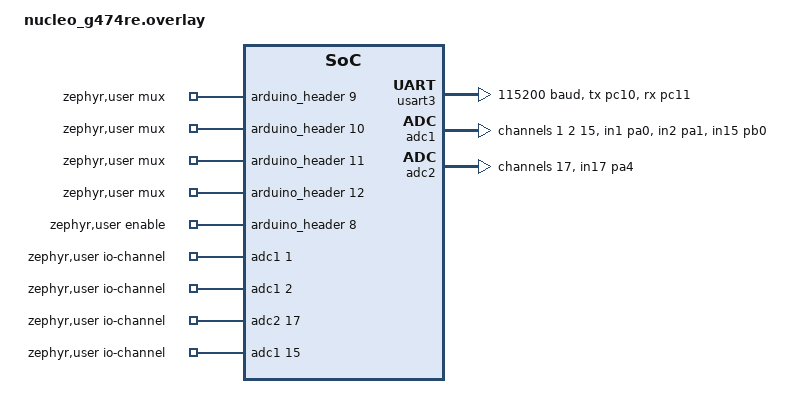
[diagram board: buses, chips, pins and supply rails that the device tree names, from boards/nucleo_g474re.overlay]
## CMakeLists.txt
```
cmake_minimum_required(VERSION 3.20.0)

# Initialize Zephyr
find_package(Zephyr REQUIRED HINTS $ENV{ZEPHYR_BASE})
project(chessboard_zephyr)

# Include sources
target_sources(app PRIVATE src/main.cpp src/Led.cpp src/utils.cpp src/SensorsMatrix.cpp src/UartSender.cpp src/FlashStorage.cpp)

# Optional: Set additional compile options if needed
# e.g., add compile options or flags here if necessary
#target_compile_options(app PRIVATE -g -O0)  # Debugging symbols and no optimization
```

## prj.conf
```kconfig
CONFIG_HEAP_MEM_POOL_SIZE=1048
CONFIG_ASSERT=y
CONFIG_GPIO=y
CONFIG_ADC=y

CONFIG_SHELL=y
#CONFIG_ADC_SHELL=y
#CONFIG_GPIO_SHELL=y
CONFIG_SHELL_PROMPT_UART="chessboard:~$ "

CONFIG_REBOOT=y

CONFIG_LOG=y

CONFIG_EVENTS=y

CONFIG_MAIN_STACK_SIZE=2048

CONFIG_FLASH=y
CONFIG_FLASH_PAGE_LAYOUT=y
CONFIG_CRC=y


CONFIG_BOOTLOADER_MCUBOOT=y
#CONFIG_BOOT_SIGNATURE_KEY_FILE="~/keys/mykey.pem"
#CONFIG_MCUBOOT_SIGNATURE_KEY_FILE="/home/elotro/keys/mykey.pem"

#CONFIG_MCUBOOT_GENERATE_UNSIGNED_IMAGE
CONFIG_MCUBOOT_IMGTOOL_SIGN_VERSION="0.0.1"


#CONFIG_NET_BUF=y
#CONFIG_ZCBOR=y

# Enable mcumgr.
#CONFIG_MCUMGR=y

CONFIG_MCUBOOT_BOOTLOADER_MODE_FIRMWARE_UPDATER=y

# Enable the Bluetooth (unauthenticated) and UART mcumgr transports.
#CONFIG_MCUMGR_SMP_BT=y
#CONFIG_MCUMGR_SMP_BT_AUTHEN=n
#CONFIG_MCUMGR_SMP_SHELL=y
#CONFIG_MCUMGR_SMP_UART=y

# Enable all core commands.
#CONFIG_MCUMGR_CMD_FS_MGMT=y
#CONFIG_MCUMGR_CMD_IMG_MGMT=y
#CONFIG_MCUMGR_CMD_OS_MGMT=y
#CONFIG_MCUMGR_CMD_STAT_MGMT=y

#CONFIG_BASE64=y
#CONFIG_MCUMGR_TRANSPORT_UART=y


#CONFIG_IMG_MANAGER=y
#CONFIG_STREAM_FLASH=y
#CONFIG_RETENTION_BOOTLOADER_INFO_OUTPUT_FUNCTION=y
#CONFIG_RETENTION=y
#CONFIG_RETAINED_MEM=y

#CONFIG_MCUBOOT_BOOTUTIL_LIB=y
#CONFIG_BOOT_IMAGE_ACCESS_HOOKS=y # probando..


#CONFIG_MCUMGR_GRP_IMG=y
#CONFIG_MCUMGR_SMP_VERBOSE_ERR_RESPONSE=y



#CONFIG_MCUBOOT_SIGNATURE_KEY_FILE="/home/elotro/keys/mykey.pem"
CONFIG_MCUBOOT_GENERATE_UNSIGNED_IMAGE=y
```

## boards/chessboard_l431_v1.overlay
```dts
/ {
	chosen {
		zephyr,code-partition = &slot0_partition;
                uart-sender = &usart3;
                config-data = &storage_partition;
	};
};

&adc1 {
    status = "okay";
};
```

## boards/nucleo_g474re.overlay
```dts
/ {
	chosen {
		zephyr,console = &usart3;
		zephyr,shell-uart = &usart3;
		uart-sender = &usart1;
		config-data = &storage_partition;
	};

    zephyr,user {
            /* adjust channel number according to pinmux in board.dts */
            /*               A0-PA0      A1-PA1    A2-PA4         A3-PB0       A4-PC1      A5-PC0*/
            //io-channels = <&adc1 1>, <&adc1 2>, <&adc2 17>,  <&adc1 15>,   <&adc12 7>, <&adc12 6> ;
            io-channels = <&adc1 1>, <&adc1 2>, <&adc2 17>,  <&adc1 15> ;
            //io-channels = <&adc1 1>, <&adc1 2>;
	mux-gpios =  <&arduino_header 9 0>, // D3
	             <&arduino_header 10 0>, // D4
	             <&arduino_header 11 0>, // D5
	             <&arduino_header 12 0>; // D6
	enable-gpios =  <&arduino_header 8 0>; // D2

    };
};

&usart3 {
	pinctrl-0 = <&usart3_tx_pc10 &usart3_rx_pc11>;
	pinctrl-names = "default";
	current-speed = <115200>;
	status = "okay";
};

&adc1 {
    pinctrl-0 = <&adc1_in1_pa0 &adc1_in2_pa1 &adc1_in15_pb0>;  // add whatever inputs you need
    pinctrl-names = "default";
    st,adc-clock-source = "SYNC";
    st,adc-prescaler = <4>;

    vref-mv = <3300>;
    status = "okay";

     #address-cells = <1>;
    #size-cells = <0>;

    channel@1 {
        reg = <1>;
        zephyr,gain = "ADC_GAIN_1";
        zephyr,reference = "ADC_REF_INTERNAL";
        zephyr,acquisition-time = <ADC_ACQ_TIME_DEFAULT>;
        zephyr,resolution = <12>;
    };

    channel@2 {
        reg = <2>;
        zephyr,gain = "ADC_GAIN_1";
        zephyr,reference = "ADC_REF_INTERNAL";
        zephyr,acquisition-time = <ADC_ACQ_TIME_DEFAULT>;
        zephyr,resolution = <12>;
    };

    channel@15 {
        reg = <15>;
        zephyr,gain = "ADC_GAIN_1";
        zephyr,reference = "ADC_REF_INTERNAL";
        zephyr,acquisition-time = <ADC_ACQ_TIME_DEFAULT>;
        zephyr,resolution = <12>;
    };

};



&adc2 {
    //pinctrl-0 = <&adc2_in6_pc1 &adc2_in7_pc0 &adc2_in17_pa4>;  // add whatever inputs you need
    pinctrl-0 = <&adc2_in17_pa4>;  // add whatever inputs you need
    pinctrl-names = "default";
    st,adc-clock-source = "SYNC";
    st,adc-prescaler = <4>;

    vref-mv = <3300>;
    status = "okay";

    #address-cells = <1>;
    #size-cells = <0>;
 
    channel@17 {
        reg = <17>;
        zephyr,gain = "ADC_GAIN_1";
        zephyr,reference = "ADC_REF_INTERNAL";
        zephyr,acquisition-time = <ADC_ACQ_TIME_DEFAULT>;
        zephyr,resolution = <12>;
    };

};
```

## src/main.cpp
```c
/*
 * Copyright (c) 2017 Linaro Limited
 *
 * SPDX-License-Identifier: Apache-2.0
 */


#include <zephyr/kernel.h>
#include <zephyr/device.h>
#include <zephyr/devicetree.h>
#include <zephyr/drivers/gpio.h>
#include <zephyr/drivers/adc.h>
#include <zephyr/sys/printk.h>
#include <zephyr/sys/util.h>
#include <zephyr/sys/__assert.h>
#include <zephyr/shell/shell.h>

#include <string.h>
#include <ctype.h>

#include "Led.hpp"
#include "SensorsMatrix.h"
#include "UartSender.h"
#include "FlashStorage.h"

/* size of stack area used by each thread */
#define STACKSIZE 1024

/* scheduling priority used by each thread */
#define PRIORITY_NORMAL 7
#define PRIORITY_HIGH 5

#define LED0_NODE DT_ALIAS(led0)

#if !DT_NODE_HAS_STATUS(LED0_NODE, okay)
#error "Unsupported board: led0 devicetree alias is not defined"
#endif

#define LED1_NODE DT_ALIAS(led1)

#if !DT_NODE_HAS_STATUS(LED1_NODE, okay)
#error "Unsupported board: led1 devicetree alias is not defined"
#endif


bool initialized = false;

K_SEM_DEFINE(my_sem, 0, 1);  // Initial count = 0, Max count = 1


SensorsMatrix sm;
FlashStorage fs;
UartSender uart;

void alive(void) {
	Led aLed( GPIO_DT_SPEC_GET_OR(LED0_NODE, gpios, {0}) );

	if ( aLed.initialize() != 0 ) {
		return;
	}

	while (1) {
		aLed.toogle();

		k_msleep(1000);
	}
}

void matrix(void) {
	while (!initialized)
		k_msleep(1);

	printk("matrix periodic refresh starts.\n");

	int iteration = 0;
	while (1) {

		if (sm.refresh()) {
			k_sem_give(&my_sem);
		} else {
			//printk("No changes\n");
		}

		k_msleep(200); // refresh takes 65ms aprox. Thus 64+200 is about 4 samples/second
		iteration++;
	}
}

bool board_inverted = false;
void changes_notifier(void) {
	Led aLed( GPIO_DT_SPEC_GET_OR(LED1_NODE, gpios, {0}) );

	if ( aLed.initialize() != 0 ) {
		printk("cannot initialize LED1");
		return;
	}

	uint8_t aMatrix[8][8];
	uint8_t packed_board[8];    // Each byte = 1 row
	char uart_msg[64];          // UART message buffer



	while (!initialized) k_msleep(1);
        printk("board monitor starts.\n");

	while (1) {

		k_sem_take(&my_sem, K_FOREVER);

		sm.getPosition(aMatrix);

		for (int row = 0; row < 8; ++row) {
			uint8_t bits = 0;

			for (int col = 0; col < 8; ++col) {
				if (aMatrix[row][col] != 0) {
					bits |= (1 << (board_inverted? col : (7 - col)));  // col 0 is MSB
				}
			}

			packed_board[row] = bits;
		}

		int len = snprintf(uart_msg, sizeof(uart_msg),
			"BOARD:%02X-%02X-%02X-%02X-%02X-%02X-%02X-%02X\r\n",
			packed_board[7], packed_board[6],
			packed_board[5], packed_board[4],
			packed_board[3], packed_board[2],
			packed_board[1], packed_board[0]);

		printk("Sent: %s", uart_msg);
		uart.send(uart_msg);
		aLed.toogle();
	}

	return;
}

K_THREAD_DEFINE(alive_id, STACKSIZE, alive, NULL, NULL, NULL, PRIORITY_NORMAL, 0, 0);
K_THREAD_DEFINE(matrix_reader_id, 4096, matrix, NULL, NULL, NULL, PRIORITY_NORMAL, 0, 0);
K_THREAD_DEFINE(changes_notifier_id, STACKSIZE, changes_notifier, NULL, NULL, NULL, PRIORITY_HIGH, 0, 0);

int main(void) {

	if (fs.initialize() != 0) {
		printk("Error: Could not initialize flash storage\n");
		return -1;
	}

	if (sm.initialize() != 0) {
		printk("Error: Could not initialize sensors matrix\n");
		return -1;
	}

	if (!uart.initialize()) {
		printk("ERROR INITIALIZING Uart");
		return -1;
	}

	storage_data sd;
	if (fs.read(sd) == 0) {
		printk("Calibrations found in flash. Let's use them\n");

		sm.setCalibrations(sd.calibrations);
	} else {
		printk("No calibrations found in flash. Calibrating sensors.\n");

		if (sm.calibrate() != 0) {
			printk("Error: Could not calibrate sensors matrix\n");
			return -1;
		}
	}

	char * buffer = sm.formatCalibrations();
	if (buffer) {
		printk("%s", buffer);
		k_free(buffer);
	}

	printk("Hw initialized.\n");
	initialized = true;

	return 0;
}

// Uart shell commands
static int cmd_cb_calibrate(const struct shell *shell, size_t argc, char **argv) {
    shell_print(shell, "Calibrating..");

    sm.calibrate();

    return 0;
}

static int cmd_cb_printCalibrations(const struct shell *shell, size_t argc, char **argv) {
	char * buffer = sm.formatCalibrations();
	if (buffer) {
		shell_print(shell, "%s", buffer);

		k_free(buffer);
	} else {
		shell_print(shell, "Error. Could not format calibrations to be printed");
	}

    return 0;
}

static int cmd_cb_saveCalibrations(const struct shell *shell, size_t argc, char **argv) {
	shell_print(shell, "Saving calibrations in flash storage...");
	storage_data sd;
	sm.getCalibrations(sd.calibrations);

	if (fs.write(sd) == 0) {
		shell_print(shell, "SAVED!\n");
	} else {
		shell_print(shell, "ERROR!\n");
	}

    return 0;
}

static int cmd_cb_loadCalibrations(const struct shell *shell, size_t argc, char **argv) {
	shell_print(shell, "Loading calibrations from flash...");
	storage_data sd;
	if (fs.read(sd) == 0) {
		sm.setCalibrations(sd.calibrations);
		shell_print(shell, "LOADED OK!\n");
	} else {
		shell_print(shell, "No calibrations found. Calibrate manually and save them.\n");
	}

    return 0;
}

static int cmd_cb_setBoardInverted(const struct shell *shell, size_t argc, char **argv) {
    if (argc != 2) {
        shell_print(shell, "Usage: cb setBoardInverted <true/false>");
        return -EINVAL;
    }

    const char *param = argv[1];

    if (strcmp(param, "true") != 0) {
	    board_inverted = false;

    } else {
	    board_inverted = true;
    }

    shell_print(shell, "Inversion set to: %s", board_inverted? "true":"false");

    return 0;
}


static int cmd_cb_readmv(const struct shell *shell, size_t argc, char **argv) {
    if (argc != 2) {
        shell_print(shell, "Usage: cb readMv <square>");
        return -EINVAL;
    }

    const char *square = argv[1];

    if (strlen(square) != 2) {
        shell_print(shell, "Invalid format. Square must be 2 characters (e.g., A1).");
        return -EINVAL;
    }

    char file = toupper(square[0]);
    char rank = square[1];

    if (file < 'A' || file > 'H' || rank < '1' || rank > '8') {
        shell_print(shell, "Invalid square. Must be between A1 and H8.");
        return -EINVAL;
    }

    int file_index = file - 'A';  // A=0, B=1, ..., H=7
    int rank_index = 7-(rank - '1');  // 1=0, ..., 8=7

    const int32_t mv = sm.getVoltage(rank_index, file_index);
    shell_print(shell, "%s (%d %d): %dmv", square, file_index, rank_index, mv);

    return 0;
}

static int cmd_cb_readGauss(const struct shell *shell, size_t argc, char **argv) {
    if (argc != 2) {
        shell_print(shell, "Usage: cb readMv <square>");
        return -EINVAL;
    }

    const char *square = argv[1];

    if (strlen(square) != 2) {
        shell_print(shell, "Invalid format. Square must be 2 characters (e.g., A1).");
        return -EINVAL;
    }

    char file = toupper(square[0]);
    char rank = square[1];

    if (file < 'A' || file > 'H' || rank < '1' || rank > '8') {
        shell_print(shell, "Invalid square. Must be between A1 and H8.");
        return -EINVAL;
    }

    int file_index = file - 'A';  // A=0, B=1, ..., H=7
    int rank_index = 7-(rank - '1');  // 1=0, ..., 8=7

    const int32_t gauss = (int32_t)sm.getGauss(rank_index, file_index);
    shell_print(shell, "%s (%d %d): %dG", square, file_index, rank_index, gauss);

    return 0;
}

static int cmd_cb_printVoltages(const struct shell *shell, size_t argc, char **argv) {
	char * buffer = sm.formatVoltages();
	if (buffer) {
		shell_print(shell, "%s", buffer);

		k_free(buffer);
	} else {
		shell_print(shell, "Error. Could not format voltages to be printed");
	}

    return 0;
}

static int cmd_cb_printGaussesMatrix (const struct shell *shell, size_t argc, char **argv) {
	char * buffer = sm.formatGaussesMatrix();
	if (buffer) {
		shell_print(shell, "%s", buffer);

		k_free(buffer);
	} else {
		shell_print(shell, "Error. Could not format gauss matrix to be printed");
	}

    return 0;
}


SHELL_STATIC_SUBCMD_SET_CREATE(sub_cb,
    SHELL_CMD(calibrate, NULL, "Sensors calibration", cmd_cb_calibrate),
    SHELL_CMD(printCalibrations, NULL, "print calibrations", cmd_cb_printCalibrations),
    SHELL_CMD(saveCalbrations  , NULL, "save current calibrations to flash", cmd_cb_saveCalibrations),
    SHELL_CMD(loadCalbrations  , NULL, "save current calibrations to flash", cmd_cb_loadCalibrations),

    SHELL_CMD(setBoardInverted  , NULL, "Inverts the board", cmd_cb_setBoardInverted),

    SHELL_CMD(readMv,    NULL, "mv of a square", cmd_cb_readmv),
    SHELL_CMD(readGauss, NULL, "gauss of a square", cmd_cb_readGauss),
    SHELL_CMD(printVoltages, NULL, "Print voltages matrix", cmd_cb_printVoltages),
    SHELL_CMD(printGaussesMatrix, NULL, "Print voltages matrix", cmd_cb_printGaussesMatrix),
    SHELL_SUBCMD_SET_END /* Obligatorio para cerrar la lista */
);

SHELL_CMD_REGISTER(cb, &sub_cb, "Chessboard debug commands", NULL);
```

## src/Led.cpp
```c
#include <zephyr/kernel.h>
#include <zephyr/device.h>
#include <zephyr/drivers/gpio.h>
#include <zephyr/sys/printk.h>

#include "Led.hpp"

Led::Led(const struct gpio_dt_spec & aSpec) : spec_(aSpec) {
}

int Led::initialize() {
	int ret = -1;

	if (!device_is_ready(spec_.port)) {
		printk("%s Error: %s device is not ready\n", __func__, spec_.port->name);
		return ret;
	}

	ret = gpio_pin_configure_dt(&spec_, GPIO_OUTPUT);
	if (ret != 0) {
		printk("%s Error %d: failed to configure pin %d\n", __func__, ret, spec_.pin);
		return ret;
	}

	return 0;
}

int Led::toogle() {
	cnt++;
	return gpio_pin_set(spec_.port, spec_.pin, cnt % 2);
}
```

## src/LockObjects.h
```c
#ifndef __LOCK_OBJECTS_H__
#define __LOCK_OBJECTS_H__

#include <zephyr/kernel.h>

class ScopedLock {
public:
    explicit ScopedLock(k_mutex* m)
        : mutex_(m) {
        if (mutex_) {
            k_mutex_lock(mutex_, K_FOREVER);
        }
    }

    ~ScopedLock() {
        if (mutex_) {
            k_mutex_unlock(mutex_);
        }
    }

    ScopedLock(const ScopedLock&) = delete;
    ScopedLock& operator=(const ScopedLock&) = delete;

private:
    k_mutex* mutex_ = nullptr;
};

#endif
```

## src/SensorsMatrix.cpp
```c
#include "SensorsMatrix.h"
#include "utils.h"

#include <zephyr/logging/log.h>

#include "LockObjects.h"

LOG_MODULE_REGISTER(sensormatrix, LOG_LEVEL_DBG);  // or LOG_LEVEL_DBG

#ifndef CONFIG_DETECTION_HISTERESYS_EMPTY
#define CONFIG_DETECTION_HISTERESYS_EMPTY 15
#endif

#ifndef CONFIG_DETECTION_HISTERESYS_PIECE
#define CONFIG_DETECTION_HISTERESYS_PIECE 60
#endif

static const int32_t histeresys_empty_mv = gauss2mv(CONFIG_DETECTION_HISTERESYS_EMPTY);
static const int32_t histeresys_piece_mv = gauss2mv(CONFIG_DETECTION_HISTERESYS_PIECE);

#define NROWS 8
#define NFILES 8

#define BUFFER_SIZE 1 // buffer used to filter position changes.

#if !DT_NODE_EXISTS(DT_PATH(zephyr_user)) || \
	!DT_NODE_HAS_PROP(DT_PATH(zephyr_user), io_channels) || \
	!DT_NODE_HAS_PROP(DT_PATH(zephyr_user), mux_gpios) || \
	!DT_NODE_HAS_PROP(DT_PATH(zephyr_user), enable_gpios)
#error "Unsupported board: zephyr_user devicetree alias is not defined"
#endif

#define DT_SPEC_AND_COMMA(node_id, prop, idx) \
	ADC_DT_SPEC_GET_BY_IDX(node_id, idx),

/* Data of ADC io-channels specified in devicetree. */
static const struct adc_dt_spec adc_channels[] = {
	DT_FOREACH_PROP_ELEM(DT_PATH(zephyr_user), io_channels,
			     DT_SPEC_AND_COMMA)
};

#define DT_GPIO_SPEC_AND_COMMA(node_id, prop, idx) \
	GPIO_DT_SPEC_GET_BY_IDX(node_id, prop, idx),


static const struct gpio_dt_spec gpios_mux[] = {
	DT_FOREACH_PROP_ELEM(DT_PATH(zephyr_user), mux_gpios,
			     DT_GPIO_SPEC_AND_COMMA)
};

static const struct gpio_dt_spec enable_gpios[] = {
	DT_FOREACH_PROP_ELEM(DT_PATH(zephyr_user), enable_gpios,
			     DT_GPIO_SPEC_AND_COMMA)
};

int32_t calibrations[NROWS][NFILES] = {0}; // mv. used to find the 0

int32_t voltages[BUFFER_SIZE][NROWS][NFILES] = {0};
uint8_t current = 0;
uint8_t previous = 0;

uint8_t currentPosition[NROWS][NFILES] = {0}; // 0-empty and 1-piece

K_MUTEX_DEFINE(my_mutex);
K_MUTEX_DEFINE(calib_mutex);

int SensorsMatrix::initialize()
{
	LOG_DBG ("SensorsMatrix::initialize() Initializing Sensors Matrix...");
	int ret;
	int err;
	uint16_t buf;
	struct adc_sequence sequence = {
		.buffer = &buf,
		.buffer_size = sizeof(buf), /* buffer size in bytes, not number of samples */
	};

	if (ARRAY_SIZE(adc_channels) != 4)
	{
		LOG_ERR("Error: Expected 4 elements in adc_channels");
		return -1;
	}

	if (ARRAY_SIZE(gpios_mux) != 4)
	{
		LOG_ERR("Error: Expected 4 elements in gpios_mux");
		return -1;
	}

	if (ARRAY_SIZE(enable_gpios) != 1)
	{
		LOG_ERR("Error: Expected 1 elements in enable_gpios");
		return -1;
	}


	/* Configure channels individually prior to sampling. */
	for (size_t i = 0U; i < 4; i++) {
		if (!adc_is_ready_dt(&adc_channels[i])) {
			LOG_ERR("SensorsMatrix::initialize() ADC controller device %s not ready", adc_channels[i].dev->name);
			return -1;
		}

		err = adc_channel_setup_dt(&adc_channels[i]);
		if (err < 0) {
			LOG_ERR("SensorsMatrix::initialize() Could not setup channel #%d (%d)", i, err);
			return -1;
		}

		LOG_DBG("Configuted ADC CHANNEL %d", adc_channels[i].channel_id);
	}

	/* Configure mux gpios */
	for (size_t nmux = 0U; nmux < 4; nmux++)
	{
		const struct gpio_dt_spec *spec = &gpios_mux[nmux];
		if (!device_is_ready(spec->port)) {
			LOG_ERR("SensorsMatrix::initialize() Error: %s device is not ready", spec->port->name);
			return -1;
		}

		ret = gpio_pin_configure_dt(spec, GPIO_OUTPUT);
		if (ret != 0) {
			LOG_ERR("SensorsMatrix::initialize() Error: failed to configure %s", spec->port->name);
			return -1;
		}

		LOG_DBG("Configuted port %s pin %d as GPIO_OUTPUT", spec->port->name, spec->pin);

		gpio_pin_set(spec->port, spec->pin, 0);
	}


	if (!device_is_ready(enable_gpios->port)) {
		LOG_ERR("SensorsMatrix::initialize() Error: %s device is not ready", enable_gpios->port->name);
		return -1;
	}

	ret = gpio_pin_configure_dt(enable_gpios, GPIO_OUTPUT);
	if (ret != 0) {
		LOG_ERR("SensorsMatrix::initialize() Error: failed to configure %s", enable_gpios->port->name);
		return -1;
	}

	gpio_pin_set(enable_gpios->port, enable_gpios->pin, 0); // 0 to enable
								//
	LOG_INF ("SensorsMatrix::initialize() Initialized Sensors Matrix...OK Histeresis(%dG-%dG (%dmV-%dmV))", (int32_t)CONFIG_DETECTION_HISTERESYS_EMPTY, (int32_t)CONFIG_DETECTION_HISTERESYS_PIECE, histeresys_empty_mv, histeresys_piece_mv);

	return 0;
}

int SensorsMatrix::calibrate() {
	ScopedLock sl(&calib_mutex);

	//LOG_INF ("Waitting 5s");
	//k_msleep(5000);

	LOG_INF("SensorsMatrix::calibrate() Calculating calibrations...");
	
	for (int k = 0; k < BUFFER_SIZE; k++) {
		readVoltages();
	}

	for (int i = 0; i<8; i++) {
		for (int j=0; j<8; j++) {
			int32_t sum = 0;

			for (int k = 0; k < BUFFER_SIZE; k++) {
				sum = sum + voltages[k][i][j];
			}
			calibrations[i][j] = sum / BUFFER_SIZE;

			if (calibrations[i][j] < 1500 || calibrations[i][j] > 1750) {
				LOG_ERR("calibrations[%d][%d]=%d looks out of range[%d,%d]", i, j, calibrations[i][j], 1500, 1750);
			}

		}
	}

	LOG_INF ("SensorsMatrix::calibrate() Ended calibrations calculation.");
	return 0;
}

bool SensorsMatrix::refresh()
{
	ScopedLock sl(&calib_mutex); // in case of calibrating, this needs to wait

	bool changed = false;

	readVoltages();

	for (int i = 0; i<8; i++) {
		for (int j=0; j<8; j++) {
			bool allGreaterThanHighLimit = true;
			bool allLowerThanLowLimit = true;
			int32_t signOfAll = 0;

			for (int k = 0; k < BUFFER_SIZE; k++) {
				const int32_t signedCalibratedVoltage = voltages[k][i][j] - calibrations[i][j];
				const int32_t calibratedVoltage = signedCalibratedVoltage<0? -signedCalibratedVoltage: signedCalibratedVoltage;
				signOfAll = signedCalibratedVoltage;
				if (calibratedVoltage < histeresys_piece_mv ) allGreaterThanHighLimit = false;
				if (calibratedVoltage > histeresys_empty_mv ) allLowerThanLowLimit = false;
			}

			{
				ScopedLock sl(&my_mutex);
				if ( currentPosition[i][j] != 0 && allLowerThanLowLimit) {
					changed = true;
					currentPosition[i][j] = 0;
				} else if ( currentPosition[i][j] == 0 && allGreaterThanHighLimit) {
					changed = true;
					currentPosition[i][j] = (signOfAll > 0)? 1 : 2;
				}
			}
		}	
	}

	return changed;
}

void SensorsMatrix::getPosition(uint8_t aMatrix[8][8])
{
	ScopedLock sl(&my_mutex);

	memcpy (aMatrix, currentPosition, sizeof(currentPosition));
}

//////////////////////////////////////////////

void SensorsMatrix::getCalibrations(int32_t cals[8][8]) {
	ScopedLock sl(&calib_mutex);
	
	memcpy(cals, calibrations, sizeof(calibrations));
}

void SensorsMatrix::setCalibrations(int32_t cals[8][8]) {
	ScopedLock sl(&calib_mutex);

	memcpy(calibrations, cals, sizeof(calibrations));
}

char * SensorsMatrix::formatCalibrations() {
	return formatVoltagesMatrix(calibrations);
}

char * SensorsMatrix::formatVoltages() {
	return formatVoltagesMatrix(voltages[current]);
}

char * SensorsMatrix::formatGaussesMatrix() {
	int32_t gaussesMatrix[NROWS][NFILES] = {0};

	for (int i = 0; i<8; i++) {
		for (int j=0; j<8; j++) {
			gaussesMatrix[i][j] = (int32_t) mv2Gauss (voltages[current][i][j] - calibrations[i][j]);
		}
	}

	return formatVoltagesMatrix(gaussesMatrix);
}


int32_t SensorsMatrix::getVoltage(uint8_t i, uint8_t j) {
	return voltages[current][i][j];
}

float SensorsMatrix::getGauss(uint8_t i, uint8_t j) {
	return mv2Gauss(voltages[current][i][j] - calibrations[i][j]);
}

//////////////////////////////////////////////////

void SensorsMatrix::select(uint8_t number) {
	if (number > 15) {
		number = 15;
	}
  
	gpio_pin_set(gpios_mux[0].port, gpios_mux[0].pin, (number & 0b0001)); // Set bit 0
	gpio_pin_set(gpios_mux[1].port, gpios_mux[1].pin, (number & 0b0010)); // Set bit 1
	gpio_pin_set(gpios_mux[2].port, gpios_mux[2].pin, (number & 0b0100)); // Set bit 2
	gpio_pin_set(gpios_mux[3].port, gpios_mux[3].pin, (number & 0b1000)); // Set bit 3

	//k_usleep(10);
	k_msleep(4); // RC filter of 1uF && 100ohm stabilization
}

void SensorsMatrix::readVoltages() {
	previous = current;
	current++;
	if (current >= BUFFER_SIZE) {
		current = 0;
	}

	for (int i = 0; i < 16; i++) {
	    select(i);

	    const int row0 = i/NROWS;
	    const int iRow[4] = {row0, row0+2, row0+4, row0+6 };
	    const int file = i%NFILES;

	    for (int r=0; r<4; r++)
	    {
	      const int theRow = iRow[r];
	      voltages[current][file][theRow] = readMv(&adc_channels[r]);
	    }
	}
}
```

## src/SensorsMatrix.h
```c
#ifndef __SENSORS_MATRIX_H__
#define __SENSORS_MATRIX_H__

#include <zephyr/kernel.h>
#include <zephyr/device.h>
#include <zephyr/drivers/gpio.h>
#include <zephyr/sys/printk.h>
#include <zephyr/sys/__assert.h>
#include <string.h>


#include <zephyr/devicetree.h>
#include <zephyr/drivers/adc.h>
#include <zephyr/sys/util.h>

class SensorsMatrix
{
public:

    explicit SensorsMatrix() {}

    int initialize();

    int calibrate();

    bool refresh();

    void getPosition(uint8_t aMatrix[8][8]);

public:

    void getCalibrations(int32_t aMatrix[8][8]);

    void setCalibrations(int32_t aMatrix[8][8]);

    char * formatCalibrations();

    char * formatVoltages();

    char * formatGaussesMatrix();

    int32_t getVoltage(uint8_t i, uint8_t j);

    float getGauss(uint8_t i, uint8_t j);

protected:

    void select(uint8_t sensor);

    void readVoltages(); // called in a thread appart

private:

};

#endif /* __SENSORS_MATRIX_H__ */
```

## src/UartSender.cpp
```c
#include <zephyr/kernel.h>
#include <zephyr/device.h>
#include <zephyr/drivers/uart.h>
#include <stdio.h>
#include <string.h>

#include "UartSender.h"

#include <zephyr/logging/log.h>

LOG_MODULE_REGISTER(uartsender, LOG_LEVEL_DBG);  // or LOG_LEVEL_DBG

const struct device *uart_dev = DEVICE_DT_GET(DT_CHOSEN(uart_sender));

static char last_msg_[128] = {0};
static char rx_line_buf[128];
static size_t rx_line_pos = 0;


//This is a placeholder for a protocol. there should be another thread processing messages and that thread should be doing this.
static void uart_cb(const struct device *dev, void *user_data)
{
    UartSender* theSender = static_cast<UartSender*>(user_data);

    uart_irq_update(dev);

    while (uart_irq_is_pending(dev)) {
        if (uart_irq_rx_ready(dev)) {
            uint8_t buf[64];
            int recv_len = uart_fifo_read(dev, buf, sizeof(buf));

            for (int i = 0; i < recv_len; i++) {
                char c = buf[i];

                if (c == '\n' || rx_line_pos >= sizeof(rx_line_buf) - 1) {
                    rx_line_buf[rx_line_pos] = '\0';

                    if (strcmp(rx_line_buf, "REQUEST:1") == 0) {
                        if (theSender) {
                            theSender->resend();
                        }
                    }

                    rx_line_pos = 0;
                }
                else if (c != '\r') {
                    rx_line_buf[rx_line_pos++] = c;
                }
            }
        }
    }
}

bool UartSender::initialize() {
	if (!device_is_ready(uart_dev)) {
		LOG_ERR("%s uart device for uartsender is not ready\n", __func__);
		return false;
	}

	uart_irq_callback_user_data_set(uart_dev, uart_cb, this);
    uart_irq_rx_enable(uart_dev);

	LOG_INF("uart sender initialized..OK\n");
	return true;
}

void UartSender::send(const char *msg) {
	strncpy(last_msg_, msg, sizeof(last_msg_) - 1);
    for (size_t i = 0; i < strlen(msg); i++) {
        uart_poll_out(uart_dev, msg[i]);
    }
}

void UartSender::resend() {
	send(last_msg_);
}
```

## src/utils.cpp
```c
#include "utils.h"

#ifndef CONFIG_SAMPLES_FOR_TORBEN
#define CONFIG_SAMPLES_FOR_TORBEN 3
#endif

int32_t torben_median_filter(int32_t *arr, int size) {
    int32_t min = arr[0], max = arr[0], guess, maxltguess, mingtguess;
    int i, less, greater, equal;

    // Encuentra el valor mínimo y máximo en el array
    for (i = 1; i < size; i++) {
        if (arr[i] < min) min = arr[i];
        if (arr[i] > max) max = arr[i];
    }

    // Bucle principal que busca la mediana
    while (min < max) {
        guess = (min + max) / 2;
        less = greater = equal = 0;
        maxltguess = min;
        mingtguess = max;

        for (i = 0; i < size; i++) {
            if (arr[i] < guess) {
                less++;
                if (arr[i] > maxltguess) maxltguess = arr[i];
            } else if (arr[i] > guess) {
                greater++;
                if (arr[i] < mingtguess) mingtguess = arr[i];
            } else {
                equal++;
            }
        }

        // Si la cantidad de elementos menores o mayores es suficiente para encontrar la mediana
        if (less <= size / 2 && greater <= size / 2) {
            if (less >= size / 2) return maxltguess;
            if (greater >= size / 2) return mingtguess;
            return guess;
        } else if (less > greater) {
            max = maxltguess;  // Ajusta el límite superior a maxltguess
        } else {
            min = mingtguess;  // Ajusta el límite inferior a mingtguess
        }

        // Si min y max se acercan lo suficiente, devolver min o max
        if (min == max) break;
    }

    // Si el bucle termina, devolvemos min (o max, ya que min == max)
    return min;
}

int32_t internalRead(const struct adc_dt_spec * adc_spec) {
	int32_t val_mv = -1;
	int err;
	uint16_t buf;

	struct adc_sequence sequence = {
		.buffer = &buf,
		/* buffer size in bytes, not number of samples */
		.buffer_size = sizeof(buf),
	};


	(void)adc_sequence_init_dt(adc_spec, &sequence);

	err = adc_read_dt(adc_spec, &sequence);
	if (err < 0) {
		printk("Could not read (%d)\n", err);
		return -1;
	}

	/*
	 * If using differential mode, the 16 bit value pin
	 * in the ADC sample buffer should be a signed 2's
	 * complement value.
	 */
	if (adc_spec->channel_cfg.differential) {
		val_mv = (int32_t)((int16_t)buf);
	} else {
		val_mv = (int32_t)buf;
	}
	//printk("%"PRId32, val_mv);
	err = adc_raw_to_millivolts_dt(adc_spec,
					   &val_mv);
	/* conversion to mV may not be supported, skip if not */
	if (err < 0) {
		printk(" (value in mV not available)\n");
		return -1;
	}

	return val_mv;
}

int32_t readMv(const struct adc_dt_spec * adc_spec) {
	int32_t mv[CONFIG_SAMPLES_FOR_TORBEN];

	for (int s = 0; s<CONFIG_SAMPLES_FOR_TORBEN; s++) {
		mv[s] = internalRead(adc_spec);
	}
	return torben_median_filter(mv, CONFIG_SAMPLES_FOR_TORBEN);
}

float millivoltsToGauss(int32_t millivolts, int32_t referenceMillivolts) {
  float gauss = mv2Gauss(millivolts - referenceMillivolts);
  return gauss<0?-gauss:gauss; // ??
}

char* formatVoltagesMatrix(int32_t aMatrix[8][8]) {
	const size_t buf_size = 512; // TODO: Adjust buffer size
	char* buf = (char*)k_malloc(buf_size);
	if (!buf) {
		printk("ERROR: SensorsMatrix::formatMatrix() Allocation failed (%d)\n", buf_size);
		return nullptr; // Allocation failed
	}

	char* p = buf;
	char* end = buf + buf_size;

	for (int row = 0; row < 8; ++row) {
		for (int col = 0; col < 8; ++col) {
			if (p + 4 >= end) {
				k_free(buf);
				printk("ERROR: SensorsMatrix::formatMatrix() Small buffer A (%d)\n", buf_size);
				return nullptr;
			}
			p += sprintf(p, "%5d ", aMatrix[row][col]);
		}
		if (p + 2 >= end) {
			k_free(buf);
			printk("ERROR: SensorsMatrix::formatMatrix() Small buffer B (%d)\n", buf_size);
			return nullptr;
		}
		*p++ = '\r';
		*p++ = '\n';
	}
	*p = '\0';

	return buf; // Caller must free it with k_free()
}
```
